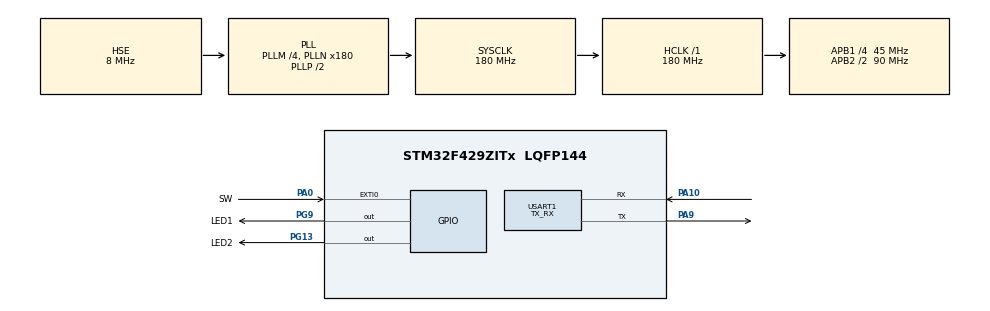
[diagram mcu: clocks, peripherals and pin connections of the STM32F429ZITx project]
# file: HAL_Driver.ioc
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Mcu.Family=STM32F4
Mcu.Name=STM32F429ZITx
Mcu.Package=LQFP144
NVIC.EXTI0_IRQn=true\:3\:0\:true\:false\:true\:true\:true\:true
NVIC.PriorityGroup=NVIC_PRIORITYGROUP_4
NVIC.USART1_IRQn=true\:0\:0\:false\:false\:true\:true\:true\:true
PA0/WKUP.GPIO_Label=SW
PA0/WKUP.Signal=GPXTI0
PA10.Mode=Asynchronous
PA10.Signal=USART1_RX
PA9.Mode=Asynchronous
PA9.Signal=USART1_TX
PG13.GPIO_Label=LED2
PG13.Signal=GPIO_Output
PG9.GPIO_Label=LED1
PG9.Signal=GPIO_Output
PH0/OSC_IN.Mode=HSE-External-Oscillator
PH0/OSC_IN.Signal=RCC_OSC_IN
PH1/OSC_OUT.Mode=HSE-External-Oscillator
PH1/OSC_OUT.Signal=RCC_OSC_OUT
ProjectManager.HeapSize=0x200
ProjectManager.StackSize=0x400
ProjectManager.TargetToolchain=STM32CubeIDE
RCC.48MHZClocksFreq_Value=120000000
RCC.AHBFreq_Value=180000000
RCC.APB1CLKDivider=RCC_HCLK_DIV4
RCC.APB1Freq_Value=45000000
RCC.APB1TimFreq_Value=90000000
RCC.APB2CLKDivider=RCC_HCLK_DIV2
RCC.APB2Freq_Value=90000000
RCC.APB2TimFreq_Value=180000000
RCC.CortexFreq_Value=180000000
RCC.HCLKFreq_Value=180000000
RCC.HSE_VALUE=8000000
RCC.HSI_VALUE=16000000
RCC.LSE_VALUE=32768
RCC.PLLM=4
RCC.PLLN=180
RCC.PLLQ=3
RCC.PLLSAIN=50
RCC.PLLSourceVirtual=RCC_PLLSOURCE_HSE
RCC.SYSCLKFreq_VALUE=180000000
RCC.SYSCLKSource=RCC_SYSCLKSOURCE_PLLCLK
RCC.VCOOutputFreq_Value=360000000
USART1.Mode=MODE_TX_RX
USART1.VirtualMode=VM_ASYNC
board=STM32F429I-DISC1

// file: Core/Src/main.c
/* USER CODE BEGIN Header */
/**
  ******************************************************************************
  * @file           : main.c
  * @brief          : Main program body
  ******************************************************************************
  * @attention
  *
  * Copyright (c) 2023 STMicroelectronics.
  * All rights reserved.
  *
  * This software is licensed under terms that can be found in the LICENSE file
  * in the root directory of this software component.
  * If no LICENSE file comes with this software, it is provided AS-IS.
  *
  ******************************************************************************
  */
/* USER CODE END Header */
#include "main.h"
#include "usart.h"
#include "gpio.h"

/* USER CODE BEGIN PD */
#define CONTACT(a, b)	a ## b

#define PORT(a)			CONTACT(a, _GPIO_Port)  //LED1_GPIO_Port
#define PIN(a)			CONTACT(a, _Pin)		//LED1_Pin

#define OUTPUT_SET(a)	HAL_GPIO_WritePin(PORT(a), PIN(a), GPIO_PIN_SET)
#define OUTPUT_RESET(a)	HAL_GPIO_WritePin(PORT(a), PIN(a), GPIO_PIN_RESET)

#define PIN_READ(a)		HAL_GPIO_ReadPin(PORT(a), PIN(a))

#define OUTPUT_TOGGLE(a) HAL_GPIO_TogglePin(PORT(a), PIN(a))
/* USER CODE END PD */

void SystemClock_Config(void);

/* USER CODE BEGIN 0 */
void HAL_UART1_RxCpltCallback(UART_HandleTypeDef *huart);
/* USER CODE END 0 */

int main(void)
{
  /* USER CODE BEGIN 1 */
	uint32_t ticks = 0;
  /* USER CODE END 1 */

  /* MCU Configuration--------------------------------------------------------*/

  /* Reset of all peripherals, Initializes the Flash interface and the Systick. */
  HAL_Init();

  /* Configure the system clock */
  SystemClock_Config();

  /* Initialize all configured peripherals */
  MX_GPIO_Init();
  MX_USART1_UART_Init();
  /* USER CODE BEGIN 2 */

//  OUTPUT_SET(LED1);
//  OUTPUT_RESET(LED1);
//  OUTPUT_TOGGLE(LED2);
//
//  PIN_READ(SW);

  ticks = HAL_GetTick();		//getTicks (+ms)
  uint8_t buff[10];

  //HAL_UART_UnRegisterCallback(&huart1, HAL_UART_RX_COMPLETE_CB_ID, HAL_UART1_RxCpltCallback);

  HAL_UART_Receive_IT(&huart1, buff, 10);

  //oversampling ->
  // fs = 2
  //12bit -> 14 bits
  //fo = 4^(2) * fs
  //fo = 16hz

  //val = sum(muestras)>>2 --> 14bits
  //distribucion gausina (señal tiene white noise)
  /* USER CODE END 2 */

  /* Infinite loop */
  while (1)
  {

    /* USER CODE BEGIN 3 */
	  if((HAL_GetTick() - ticks)>= 100){
		  ticks = HAL_GetTick();
		  //todo

	  }
  }
  /* USER CODE END 3 */
}

void SystemClock_Config(void)
{
  RCC_OscInitTypeDef RCC_OscInitStruct = {0};
  RCC_ClkInitTypeDef RCC_ClkInitStruct = {0};

  /** Configure the main internal regulator output voltage
  */
  __HAL_RCC_PWR_CLK_ENABLE();
  __HAL_PWR_VOLTAGESCALING_CONFIG(PWR_REGULATOR_VOLTAGE_SCALE1);

  /** Initializes the RCC Oscillators according to the specified parameters
  * in the RCC_OscInitTypeDef structure.
  */
  RCC_OscInitStruct.OscillatorType = RCC_OSCILLATORTYPE_HSE;
  RCC_OscInitStruct.HSEState = RCC_HSE_ON;
  RCC_OscInitStruct.PLL.PLLState = RCC_PLL_ON;
  RCC_OscInitStruct.PLL.PLLSource = RCC_PLLSOURCE_HSE;
  RCC_OscInitStruct.PLL.PLLM = 4;
  RCC_OscInitStruct.PLL.PLLN = 180;
  RCC_OscInitStruct.PLL.PLLP = RCC_PLLP_DIV2;
  RCC_OscInitStruct.PLL.PLLQ = 3;
  if (HAL_RCC_OscConfig(&RCC_OscInitStruct) != HAL_OK)
  {
    Error_Handler();
  }

  /** Activate the Over-Drive mode
  */
  if (HAL_PWREx_EnableOverDrive() != HAL_OK)
  {
    Error_Handler();
  }

  /** Initializes the CPU, AHB and APB buses clocks
  */
  RCC_ClkInitStruct.ClockType = RCC_CLOCKTYPE_HCLK|RCC_CLOCKTYPE_SYSCLK
                              |RCC_CLOCKTYPE_PCLK1|RCC_CLOCKTYPE_PCLK2;
  RCC_ClkInitStruct.SYSCLKSource = RCC_SYSCLKSOURCE_PLLCLK;
  RCC_ClkInitStruct.AHBCLKDivider = RCC_SYSCLK_DIV1;
  RCC_ClkInitStruct.APB1CLKDivider = RCC_HCLK_DIV4;
  RCC_ClkInitStruct.APB2CLKDivider = RCC_HCLK_DIV2;

  if (HAL_RCC_ClockConfig(&RCC_ClkInitStruct, FLASH_LATENCY_5) != HAL_OK)
  {
    Error_Handler();
  }
}

/* USER CODE BEGIN 4 */
void HAL_GPIO_EXTI_Callback(uint16_t GPIO_Pin)
{
  switch(GPIO_Pin){
  case GPIO_PIN_0:
	  //todo

	  break;
  case GPIO_PIN_13:
	  //todo

	  break;
  }
}

void HAL_UART1_RxCpltCallback(UART_HandleTypeDef *huart)
{
	if(huart == &huart1){
		//todo
		 //HAL_UART_Receive_IT(&huart1, buff, 10);
	}
}
/* USER CODE END 4 */

void Error_Handler(void)
{
  __disable_irq();
  while (1)
  {
  }
}
